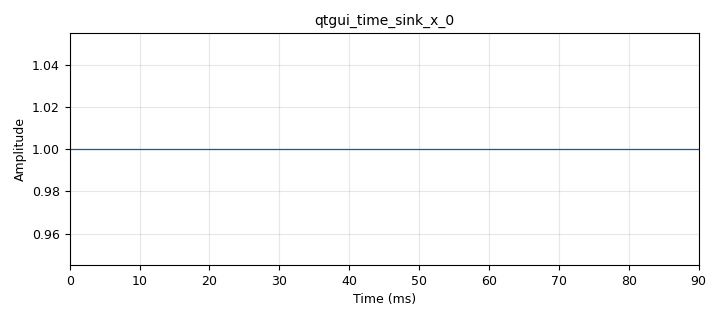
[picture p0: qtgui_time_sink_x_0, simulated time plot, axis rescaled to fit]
options:
  parameters:
    author: fuguru
    generate_options: qt_gui
    id: packet_detector_test
    output_language: python
    title: Not titled yet
  states: {}

blocks:
- name: samp_rate
  id: variable
  parameters:
    value: '100'
  states: {}
- name: analog_sig_source_x_0
  id: analog_sig_source_x
  parameters:
    amp: '1'
    freq: '0.5'
    offset: '0'
    phase: '0'
    samp_rate: samp_rate
    type: float
    waveform: analog.GR_SQR_WAVE
  states: {}
- name: blocks_null_sink_0
  id: blocks_null_sink
  parameters:
    type: float
  states: {}
- name: blocks_throttle_0
  id: blocks_throttle
  parameters:
    samples_per_second: samp_rate
    type: float
  states: {}
- name: qtgui_time_sink_x_0
  id: qtgui_time_sink_x
  parameters:
    grid: 'True'
    size: '10'
    srate: samp_rate
    type: float
    update_time: '0.1'
  states: {}

connections:
- [analog_sig_source_x_0, '0', blocks_throttle_0, '0']
- [blocks_throttle_0, '0', blocks_null_sink_0, '0']
- [blocks_throttle_0, '0', qtgui_time_sink_x_0, '0']

metadata:
  file_format: 1
